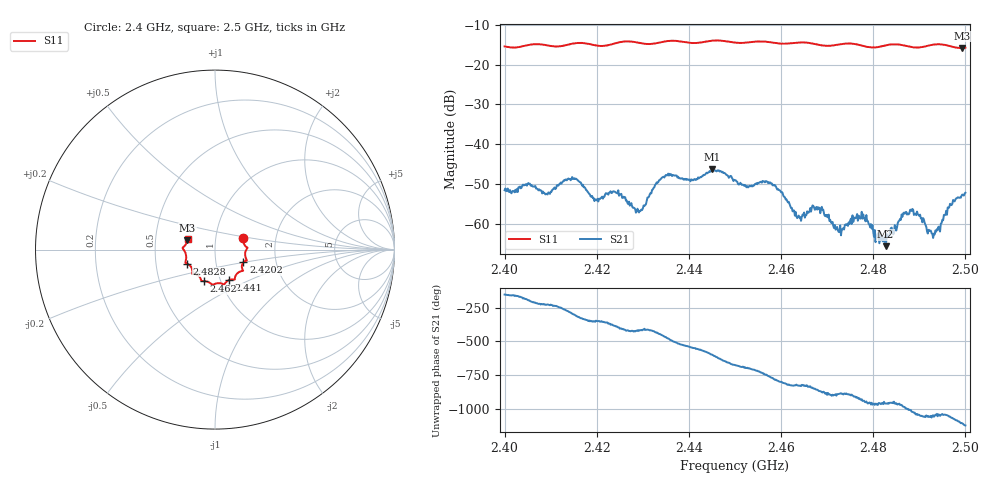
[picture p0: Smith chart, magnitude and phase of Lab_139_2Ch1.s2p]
# Hz S RI R 50
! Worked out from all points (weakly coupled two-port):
!   601 points, 2.4 GHz to 2.5 GHz, reference 50 ohm
!   highest |S21| = -46.35 dB at 2.445 GHz (marker M1); lowest = -65.7 dB at 2.4827 GHz (marker M2)
!   lowest |S11| = -15.8 dB at 2.4993 GHz (marker M3), VSWR 1.39, Z = 36.5 + j3.84 ohm
!   |S11| at or under -10 dB: start of sweep to end of sweep
!   S12 and S22 are empty: the file has one direction only
!   S11 on the Smith chart (normalised r, x): 2.4 GHz: 1.36, +0.18; 2.4202 GHz: 1.36, -0.20; 2.441 GHz: 1.10, -0.39; 2.462 GHz: 0.84, -0.30; 2.4828 GHz: 0.72, -0.12; 2.5 GHz: 0.73, +0.09
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2.4e9  0.1575 0.063  -0.00235 -0.00119  0 0  0 0
2.416667e9  0.1779 -0.0601  0.00273 0.00162  0 0  0 0
2.420167e9  0.1581 -0.0708  0.00203 0.00031  0 0  0 0
2.424167e9  0.1521 -0.108  0.00212 -0.00123  0 0  0 0
2.4295e9  0.1413 -0.122  0.000783 -0.00122  0 0  0 0
2.433333e9  0.1122 -0.1511  0.000473 -0.00328  0 0  0 0
2.441e9  0.0784 -0.1696  -0.00347 0.000611  0 0  0 0
2.445e9  0.0532 -0.1929  -0.00249 0.00412  0 0  0 0
2.45e9  0.0286 -0.1871  0.00256 0.00243  0 0  0 0
2.4575e9  -0.0218 -0.1905  0.00236 -0.00223  0 0  0 0
2.462e9  -0.0605 -0.1756  -0.00048 -0.00159  0 0  0 0
2.463833e9  -0.0723 -0.1758  -0.000425 -0.00119  0 0  0 0
2.466667e9  -0.0776 -0.1682  -0.000939 -0.00129  0 0  0 0
2.472833e9  -0.1196 -0.1355  -0.000925 -0.000205  0 0  0 0
2.478e9  -0.1263 -0.1153  -0.000868 0.000772  0 0  0 0
2.482667e9  -0.1564 -0.078  -0.000243 0.00046  0 0  0 0
2.482833e9  -0.1575 -0.0777  -0.000272 0.000538  0 0  0 0
2.483333e9  -0.1605 -0.0764  -0.000307 0.00062  0 0  0 0
2.488167e9  -0.1602 -0.0472  0.000547 0.00139  0 0  0 0
2.493167e9  -0.179 0.00486  0.000707 0.000248  0 0  0 0
2.499333e9  -0.1534 0.0512  0.00202 -0.00116  0 0  0 0
2.5e9  -0.1518 0.0612  0.00173 -0.00173  0 0  0 0
